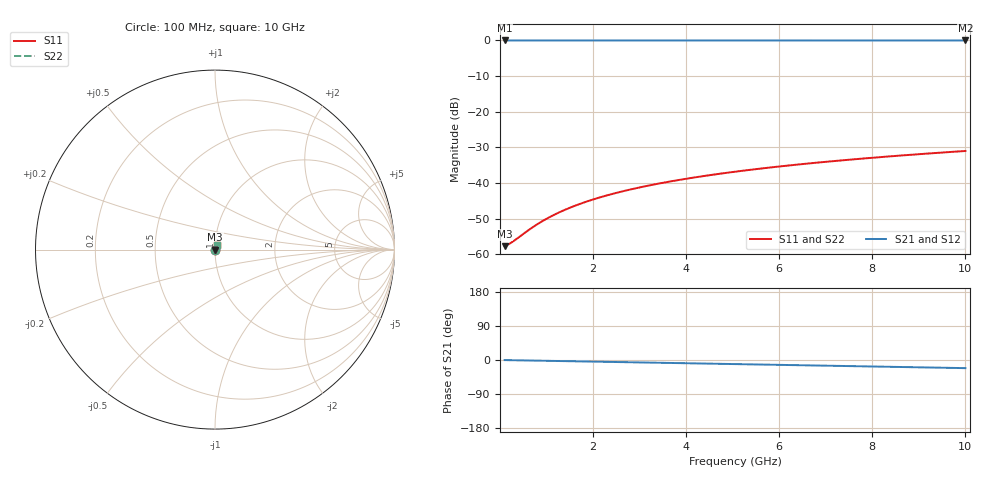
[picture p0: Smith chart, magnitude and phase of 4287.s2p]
# Hz S RI R 50.00
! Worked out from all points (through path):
!   100 points, 100 MHz to 10 GHz, reference 50 ohm
!   highest |S21| = -0.01 dB at 100 MHz (marker M1); lowest = 0.0 dB at 10 GHz (marker M2)
!   group delay of S21, straight-line fit = 5.96 ps
!   lowest |S11| = -57.7 dB at 100 MHz (marker M3), VSWR 1.00, Z = 50.1 + j0.0283 ohm
!   |S11| at or under -10 dB: start of sweep to end of sweep
!   |S22| runs from -57.7 to -31.0 dB; largest |S21 - S12| = 0
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1e8  0.00127 0.000283  0.9987 -0.00371  0.9987 -0.00371  0.00127 0.000283
2e8  0.00128 0.000565  0.9987 -0.00742  0.9987 -0.00742  0.00128 0.000565
3e8  0.00129 0.000847  0.9986 -0.0111  0.9986 -0.0111  0.00129 0.000847
7e8  0.00134 0.00198  0.9983 -0.026  0.9983 -0.026  0.00134 0.00198
8e8  0.00136 0.00226  0.9982 -0.0297  0.9982 -0.0297  0.00136 0.00226
1e9  0.0014 0.00282  0.998 -0.0371  0.998 -0.0371  0.0014 0.00282
1.2e9  0.00145 0.00338  0.9977 -0.0445  0.9977 -0.0445  0.00145 0.00338
1.4e9  0.0015 0.00394  0.9973 -0.052  0.9973 -0.052  0.0015 0.00394
1.6e9  0.00157 0.0045  0.9969 -0.0594  0.9969 -0.0594  0.00157 0.0045
1.8e9  0.00164 0.00506  0.9964 -0.0668  0.9964 -0.0668  0.00164 0.00506
2.1e9  0.00177 0.00589  0.9956 -0.0779  0.9956 -0.0779  0.00177 0.00589
2.5e9  0.00196 0.007  0.9943 -0.0927  0.9943 -0.0927  0.00196 0.007
2.9e9  0.00219 0.00809  0.9928 -0.1076  0.9928 -0.1076  0.00219 0.00809
3.4e9  0.00251 0.00946  0.9905 -0.1261  0.9905 -0.1261  0.00251 0.00946
3.8e9  0.00281 0.0105  0.9885 -0.1408  0.9885 -0.1408  0.00281 0.0105
4.2e9  0.00314 0.0116  0.9863 -0.1556  0.9863 -0.1556  0.00314 0.0116
5.1e9  0.00401 0.014  0.9804 -0.1887  0.9804 -0.1887  0.00401 0.014
5.9e9  0.00491 0.016  0.9743 -0.218  0.9743 -0.218  0.00491 0.016
6.7e9  0.00593 0.018  0.9672 -0.2471  0.9672 -0.2471  0.00593 0.018
7.5e9  0.00708 0.02  0.9593 -0.2761  0.9593 -0.2761  0.00708 0.02
8.4e9  0.00852 0.0221  0.9493 -0.3085  0.9493 -0.3085  0.00852 0.0221
1e10  0.0115 0.0257  0.9287 -0.3653  0.9287 -0.3653  0.0115 0.0257
